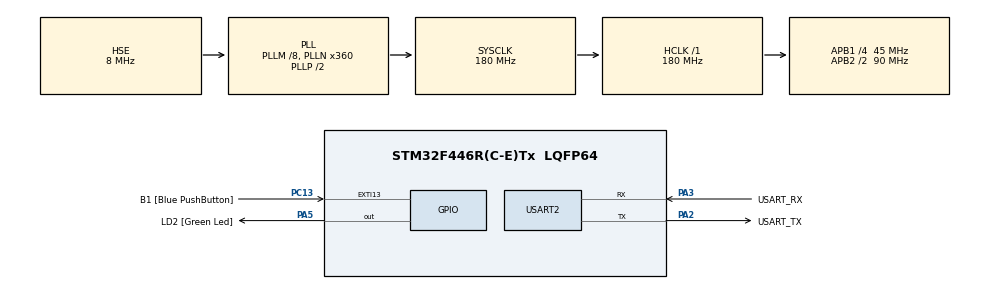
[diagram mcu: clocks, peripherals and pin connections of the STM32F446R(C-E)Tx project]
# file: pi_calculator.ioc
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Mcu.Family=STM32F4
RCC.PLLSourceVirtual=RCC_PLLSOURCE_HSE
PC15-OSC32_OUT.Mode=LSE-External-Oscillator
PH0-OSC_IN.Signal=RCC_OSC_IN
RCC.CortexFreq_Value=180000000
PC13.Signal=GPXTI13
PA14.GPIO_Label=TCK
PC13.GPIO_Label=B1 [Blue PushButton]
RCC.APB1CLKDivider=RCC_HCLK_DIV4
PC14-OSC32_IN.Signal=RCC_OSC32_IN
RCC.SYSCLKSource=RCC_SYSCLKSOURCE_PLLCLK
ProjectManager.StackSize=0x400
PA13.Signal=SYS_JTMS-SWDIO
PA3.Mode=Asynchronous
ProjectManager.TargetToolchain=Makefile
RCC.HCLKFreq_Value=180000000
RCC.APB2TimFreq_Value=180000000
RCC.USBFreq_Value=180000000
PC15-OSC32_OUT.Signal=RCC_OSC32_OUT
RCC.AHBFreq_Value=180000000
PH0-OSC_IN.Mode=HSE-External-Oscillator
PA5.Signal=GPIO_Output
RCC.HSE_VALUE=8000000
board=NUCLEO-F446RE
RCC.VCOOutputFreq_Value=360000000
RCC.APB2Freq_Value=90000000
PC14-OSC32_IN.Mode=LSE-External-Oscillator
PA14.Mode=Serial_Wire
PH1-OSC_OUT.Signal=RCC_OSC_OUT
PA13.Mode=Serial_Wire
Mcu.Name=STM32F446R(C-E)Tx
PA2.Signal=USART2_TX
PA13.GPIO_Label=TMS
RCC.FLatency-AdvancedSettings=FLASH_LATENCY_5
PH1-OSC_OUT.Mode=HSE-External-Oscillator
RCC.48MHZClocksFreq_Value=84000000
PB3.Signal=SYS_JTDO-SWO
RCC.SYSCLKFreq_VALUE=180000000
Mcu.Package=LQFP64
PA5.GPIO_Label=LD2 [Green Led]
PC13.GPIO_ModeDefaultEXTI=GPIO_MODE_IT_FALLING
USART2.VirtualMode=VM_ASYNC
PA2.GPIO_Label=USART_TX
PA14.Signal=SYS_JTCK-SWCLK
ProjectManager.HeapSize=0x200
RCC.HSI_VALUE=16000000
NVIC.PriorityGroup=NVIC_PRIORITYGROUP_0
RCC.APB2CLKDivider=RCC_HCLK_DIV2
RCC.PLLM=8
RCC.PLLN=360
RCC.APB1TimFreq_Value=90000000
PA2.Mode=Asynchronous
RCC.APB1Freq_Value=45000000
PA3.GPIO_Label=USART_RX
PA3.Signal=USART2_RX
PB3.GPIO_Label=SWO

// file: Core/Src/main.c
/* USER CODE BEGIN Header */
/**
  ******************************************************************************
  * @file           : main.c
  * @brief          : Main program body
  ******************************************************************************
  * @attention
  *
  * <h2><center>&copy; Copyright (c) 2020 STMicroelectronics.
  * All rights reserved.</center></h2>
  *
  * This software component is licensed by ST under BSD 3-Clause license,
  * the "License"; You may not use this file except in compliance with the
  * License. You may obtain a copy of the License at:
  *                        opensource.org/licenses/BSD-3-Clause
  *
  ******************************************************************************
  */
/* USER CODE END Header */
#include "main.h"
#include "usart.h"
#include "gpio.h"

/* USER CODE BEGIN Includes */
#include <stdio.h>
#include <math.h>
#include <stdint.h>
#include "arm_math.h"
/* USER CODE END Includes */

void SystemClock_Config(void);

int main(void)
{
  /* USER CODE BEGIN 1 */
  CoreDebug->DEMCR |= CoreDebug_DEMCR_TRCENA_Msk;
  DWT->CTRL |= DWT_CTRL_CYCCNTENA_Msk;
  /* USER CODE END 1 */

  /* MCU Configuration--------------------------------------------------------*/

  /* Reset of all peripherals, Initializes the Flash interface and the Systick. */
  HAL_Init();

  /* Configure the system clock */
  SystemClock_Config();

  /* Initialize all configured peripherals */
  MX_GPIO_Init();
  MX_USART2_UART_Init();

  /* Infinite loop */
  /* USER CODE BEGIN WHILE */
  char buf[128];
  for (int i = 0; i < sizeof(buf); i++)
  {
    buf[i] = 0;
  }
  float sin_val;
  float theta = 0;
  int start = DWT->CYCCNT;
#define WITH_FPU
  for (uint16_t i = 0; i < 1000; i++)
  {
    theta = (float)i / 1000.0 * M_PI;
#ifdef WITH_FPU
    sin_val = arm_sin_f32(theta);
#else
    sin_val = sin(theta);
#endif
  }
  int end = DWT->CYCCNT;
  int diff = end - start;
  sprintf(buf, "%d\r\n", diff);
  HAL_UART_Transmit(&huart2, (uint8_t *)buf, sizeof(buf), 0xFFFF);
  sprintf(buf, "%1.3f %1.3f\r\n", theta, sin_val);
  HAL_UART_Transmit(&huart2, (uint8_t *)buf, sizeof(buf), 0xFFFF);
  while (1)
  {
    /* USER CODE END WHILE */

  }
}

void SystemClock_Config(void)
{
  RCC_OscInitTypeDef RCC_OscInitStruct = {0};
  RCC_ClkInitTypeDef RCC_ClkInitStruct = {0};

  /** Configure the main internal regulator output voltage
  */
  __HAL_RCC_PWR_CLK_ENABLE();
  __HAL_PWR_VOLTAGESCALING_CONFIG(PWR_REGULATOR_VOLTAGE_SCALE1);
  /** Initializes the RCC Oscillators according to the specified parameters
  * in the RCC_OscInitTypeDef structure.
  */
  RCC_OscInitStruct.OscillatorType = RCC_OSCILLATORTYPE_HSE;
  RCC_OscInitStruct.HSEState = RCC_HSE_ON;
  RCC_OscInitStruct.PLL.PLLState = RCC_PLL_ON;
  RCC_OscInitStruct.PLL.PLLSource = RCC_PLLSOURCE_HSE;
  RCC_OscInitStruct.PLL.PLLM = 8;
  RCC_OscInitStruct.PLL.PLLN = 360;
  RCC_OscInitStruct.PLL.PLLP = RCC_PLLP_DIV2;
  RCC_OscInitStruct.PLL.PLLQ = 2;
  RCC_OscInitStruct.PLL.PLLR = 2;
  if (HAL_RCC_OscConfig(&RCC_OscInitStruct) != HAL_OK)
  {
    Error_Handler();
  }
  /** Activate the Over-Drive mode
  */
  if (HAL_PWREx_EnableOverDrive() != HAL_OK)
  {
    Error_Handler();
  }
  /** Initializes the CPU, AHB and APB buses clocks
  */
  RCC_ClkInitStruct.ClockType = RCC_CLOCKTYPE_HCLK | RCC_CLOCKTYPE_SYSCLK | RCC_CLOCKTYPE_PCLK1 | RCC_CLOCKTYPE_PCLK2;
  RCC_ClkInitStruct.SYSCLKSource = RCC_SYSCLKSOURCE_PLLCLK;
  RCC_ClkInitStruct.AHBCLKDivider = RCC_SYSCLK_DIV1;
  RCC_ClkInitStruct.APB1CLKDivider = RCC_HCLK_DIV4;
  RCC_ClkInitStruct.APB2CLKDivider = RCC_HCLK_DIV2;

  if (HAL_RCC_ClockConfig(&RCC_ClkInitStruct, FLASH_LATENCY_5) != HAL_OK)
  {
    Error_Handler();
  }
}

void Error_Handler(void)
{
  __disable_irq();
  while (1)
  {
  }
}

/************************ (C) COPYRIGHT STMicroelectronics *****END OF FILE****/
